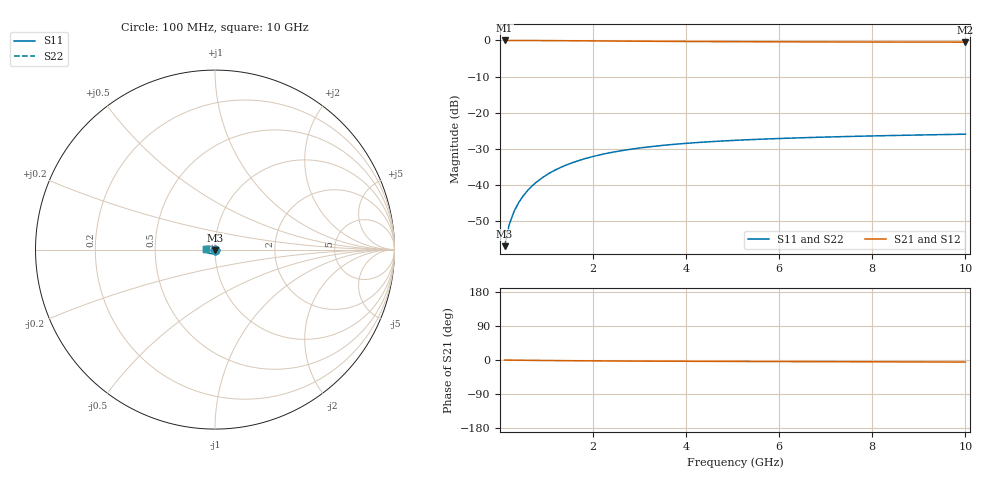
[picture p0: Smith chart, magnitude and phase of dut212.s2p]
! Touchstone file exported from HFSS 2024.1.0
!  File:  C:/UserFiles/LocalFiles/RDL_TSV_Batchsim/temp_TSV1_212_1779386810.aedt
!  Generated:  02:13:44 AM May 22, 2026
!  Design:  TSV1
!  Project:  temp_TSV1_212_1779386810
!  Setup:  Setup1
!  Solution:  Sweep
! Variables:
!  dtsv = 11.56um
!  hbump = 3um
!  htsv = 83.95um
!  lrdl = 252.1521522um
!  p = 40
!  p1 = 55.07um
!  t = 500um
!  trdl = 3um
!  wrdl = 24.89489489um
# GHz S MA R 50.000000
! Terminal data exported
! Port[1] = TSV22_T1
! Port[2] = TSV22_T2
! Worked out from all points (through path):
!   100 points, 100 MHz to 10 GHz, reference 50 ohm
!   highest |S21| = 0.00 dB at 100 MHz (marker M1); lowest = -0.5 dB at 10 GHz (marker M2)
!   lowest |S11| = -56.9 dB at 100 MHz (marker M3), VSWR 1.00, Z = 50 - j0.143 ohm
!   |S11| at or under -10 dB: start of sweep to end of sweep
!   |S22| runs from -56.9 to -25.9 dB; largest |S21 - S12| = 7e-15
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0.1  0.001435 -87.5  0.9998 -0.1  0.9998 -0.1  0.001435 -87.5
! Gamma 0 0 0 0
! Port Impedance 50 0 50 0
0.2  0.002864 -91.4  0.9997 -0.3  0.9997 -0.3  0.002864 -91.4
0.3  0.00429 -94.0  0.9994 -0.4  0.9994 -0.4  0.00429 -94.0
0.4  0.005711 -96.2  0.9991 -0.6  0.9991 -0.6  0.005711 -96.2
0.5  0.007119 -98.3  0.9986 -0.7  0.9986 -0.7  0.007119 -98.3
0.6  0.008512 -100.3  0.9981 -0.8  0.9981 -0.8  0.008512 -100.3
0.7  0.009883 -102.3  0.9975 -0.9  0.9975 -0.9  0.009883 -102.3
0.8  0.01123 -104.2  0.9969 -1.1  0.9969 -1.1  0.01123 -104.2
0.9  0.01255 -106.1  0.9962 -1.2  0.9962 -1.2  0.01255 -106.1
1.1  0.01511 -109.7  0.9946 -1.4  0.9946 -1.4  0.01511 -109.7
1.4  0.01869 -115.0  0.9918 -1.7  0.9918 -1.7  0.01869 -115.0
1.6  0.02091 -118.3  0.9899 -1.9  0.9899 -1.9  0.02091 -118.3
1.8  0.02298 -121.4  0.9878 -2.1  0.9878 -2.1  0.02298 -121.4
2.1  0.02582 -125.9  0.9847 -2.4  0.9847 -2.4  0.02582 -125.9
2.5  0.02914 -131.3  0.9806 -2.6  0.9806 -2.6  0.02913 -131.3
2.9  0.03197 -136.3  0.9768 -2.9  0.9768 -2.9  0.03197 -136.3
3.4  0.03494 -141.8  0.9725 -3.1  0.9725 -3.1  0.03494 -141.8
4.2  0.03866 -149.4  0.9666 -3.5  0.9666 -3.5  0.03866 -149.4
5.1  0.04177 -156.6  0.9614 -3.8  0.9614 -3.8  0.04177 -156.6
6.7  0.04564 -166.8  0.9549 -4.3  0.9549 -4.3  0.04564 -166.8
8.4  0.0485 -175.4  0.9505 -4.9  0.9505 -4.9  0.0485 -175.4
10  0.05063 177.8  0.9476 -5.4  0.9476 -5.4  0.05063 177.8
